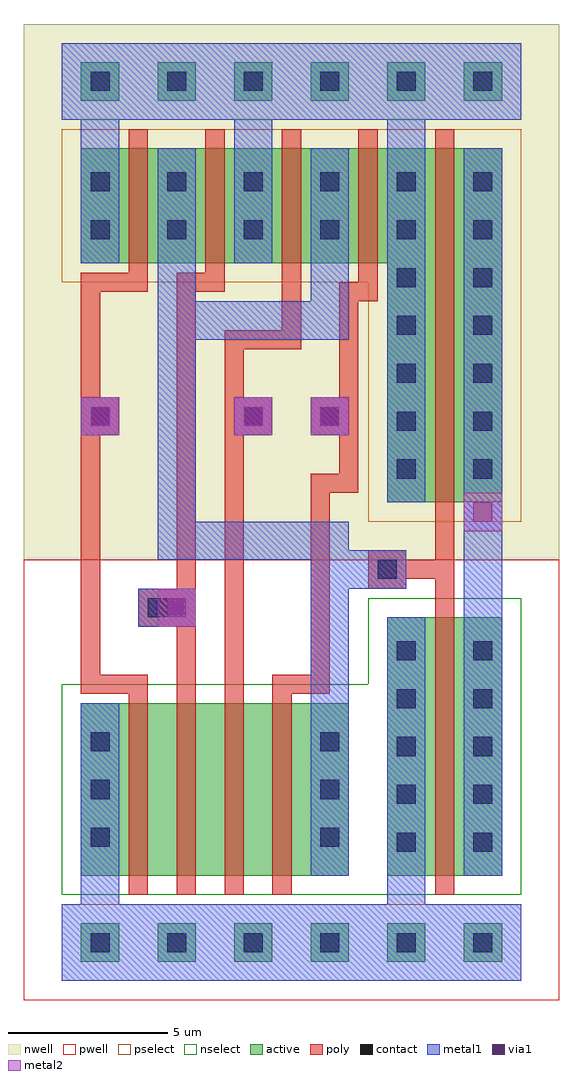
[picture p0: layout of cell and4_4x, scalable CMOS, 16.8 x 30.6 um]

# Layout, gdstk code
import gdstk
lib = gdstk.Library(unit=1e-6, precision=1e-09)
def R(c, l, rs):  # rectangles x0, y0, x1, y1
    for r in rs: c.add(gdstk.rectangle(r[:2], r[2:], *l))
def A(c, l, x, y, w, h, nx, ny, dx, dy):  # array of equal rectangles
    R(c, l, [(x+i*dx, y+j*dy, x+i*dx+w, y+j*dy+h) for i in range(nx) for j in range(ny)])
contact = (25, 0)
pwell = (41, 0)
nwell = (42, 0)
active = (43, 0)
pselect = (44, 0)
nselect = (45, 0)
poly = (46, 0)
metal1 = (49, 0)
via1 = (50, 0)
metal2 = (51, 0)

and4_4x = lib.new_cell('and4_4x')
A(and4_4x, contact, 0.3, -0.3, 0.6, 0.6, 6, 2, 2.4, 22.35)
A(and4_4x, contact, 9.9, 2.85, 0.6, 0.6, 1, 5, 0, 1.5)
A(and4_4x, contact, 12.3, 2.85, 0.6, 0.6, 1, 5, 0, 1.5)
A(and4_4x, contact, 0.3, 3, 0.6, 0.6, 1, 3, 0, 1.5)
A(and4_4x, contact, 7.5, 3, 0.6, 0.6, 1, 3, 0, 1.5)
A(and4_4x, contact, 9.9, 14.55, 0.6, 0.6, 1, 5, 0, 1.5)
A(and4_4x, contact, 12.3, 14.55, 0.6, 0.6, 1, 5, 0, 1.5)
A(and4_4x, contact, 0.3, 23.55, 0.6, 0.6, 6, 2, 2.4, 3.15)
R(and4_4x, contact, [(2.1,10.2,2.7,10.8), (9.3,11.4,9.9,12), (0.3,16.2,0.9,16.8), (5.1,16.2,5.7,16.8), (7.5,16.2,8.1,16.8)])
A(and4_4x, pwell, -0.9, -1.5, 3, 3, 6, 1, 2.4, 0)
A(and4_4x, pwell, -1.2, 0.3, 6, 9, 4, 1, 1.5, 0)
R(and4_4x, pwell, [(-1.8,-1.8,15,12), (-1.8,0.3,3,9.3), (5.4,0.3,10.2,9.3), (7.8,0.3,12.6,12), (8.4,0.3,14.4,12), (10.2,0.3,15,12), (5.175,2.25,10.05,6.75), (7.95,2.85,12.525,7.35), (1.425,3,6.675,7.5), (2.925,3,8.175,7.5), (-0.075,3.3,5.175,7.8), (10.275,3.45,15,7.95), (-1.8,4.8,2.925,9.3)])
A(and4_4x, nwell, -1.8, 19.5, 4.8, 7.2, 4, 1, 2.4, 0)
A(and4_4x, nwell, -1.2, 19.5, 6, 7.2, 4, 1, 2.4, 0)
A(and4_4x, nwell, -0.9, 25.5, 3, 3, 6, 1, 2.4, 0)
R(and4_4x, nwell, [(-1.8,12,15,28.8), (7.8,12,12.6,26.7), (8.4,12,14.4,26.7), (10.2,12,15,26.7), (5.475,19.5,10.2,24), (5.7,19.5,10.2,25.65), (0.75,19.8,5.325,24.3), (3.075,19.95,7.8,24.45), (3.15,19.95,7.725,24.45), (7.875,19.95,12.45,24.45), (7.95,19.95,12.525,24.45), (5.55,20.1,10.125,24.6), (0.675,20.4,5.4,24.9), (10.275,20.55,14.85,25.05), (-1.65,21.15,2.925,25.65)])
A(and4_4x, active, 0, -0.6, 1.2, 1.2, 6, 2, 2.4, 27)
A(and4_4x, active, 0.6, 2.1, 2.4, 5.4, 4, 1, 1.5, 0)
A(and4_4x, active, 0, 21.3, 1.2, 3.6, 4, 1, 2.4, 0)
A(and4_4x, active, 0.6, 21.3, 2.4, 3.6, 4, 1, 2.4, 0)
R(and4_4x, active, [(0,2.1,1.2,7.5), (7.2,2.1,8.4,7.5), (9.6,2.1,10.8,10.2), (10.2,2.1,12.6,10.2), (12,2.1,13.2,10.2), (6.975,4.05,8.25,4.95), (9.75,4.65,10.725,5.55), (3.225,4.8,4.875,5.7), (4.725,4.8,6.375,5.7), (1.725,5.1,3.375,6), (12.075,5.25,13.2,6.15), (0,6.6,1.125,7.5), (9.6,13.8,10.8,24.9), (10.2,13.8,12.6,24.9), (12,13.8,13.2,24.9), (7.275,21.3,8.4,22.2), (7.5,21.3,8.4,23.85), (2.55,21.6,3.525,22.5), (4.875,21.75,6,22.65), (4.95,21.75,5.925,22.65), (9.675,21.75,10.65,22.65), (9.75,21.75,10.725,22.65), (7.35,21.9,8.325,22.8), (2.475,22.2,3.6,23.1), (12.075,22.35,13.05,23.25), (0.15,22.95,1.125,23.85)])
A(and4_4x, pselect, -0.6, -1.2, 2.4, 2.4, 6, 1, 2.4, 0)
A(and4_4x, pselect, -0.6, 20.7, 2.4, 4.8, 4, 1, 2.4, 0)
A(and4_4x, pselect, 0, 20.7, 3.6, 4.8, 4, 1, 2.4, 0)
R(and4_4x, pselect, [(9,13.2,11.4,25.5), (9.6,13.2,13.2,25.5), (11.4,13.2,13.8,25.5), (6.675,20.7,9,22.8), (6.9,20.7,9,24.45), (1.95,21,4.125,23.1), (4.275,21.15,6.6,23.25), (4.35,21.15,6.525,23.25), (9.075,21.15,11.25,23.25), (9.15,21.15,11.325,23.25), (6.75,21.3,8.925,23.4), (1.875,21.6,4.2,23.7), (11.475,21.75,13.65,23.85), (-0.45,22.35,1.725,24.45)])
A(and4_4x, nselect, 0, 1.5, 3.6, 6.6, 4, 1, 1.5, 0)
A(and4_4x, nselect, -0.6, 25.8, 2.4, 2.4, 6, 1, 2.4, 0)
R(and4_4x, nselect, [(-0.6,1.5,1.8,8.1), (6.6,1.5,9,8.1), (9,1.5,11.4,10.8), (9.6,1.5,13.2,10.8), (11.4,1.5,13.8,10.8), (6.375,3.45,8.85,5.55), (9.15,4.05,11.325,6.15), (2.625,4.2,5.475,6.3), (4.125,4.2,6.975,6.3), (1.125,4.5,3.975,6.6), (11.475,4.65,13.8,6.75), (-0.6,6,1.725,8.1)])
A(and4_4x, poly, 1.5, 1.5, 0.6, 6.6, 4, 1, 1.5, 0)
A(and4_4x, poly, 1.5, 20.7, 0.6, 4.8, 4, 1, 2.4, 0)
R(and4_4x, poly, [(11.1,1.5,11.7,10.8), (0,7.8,2.1,8.4), (0,7.8,0.6,16.8), (3,7.8,3.6,10.8), (4.5,7.8,5.1,16.8), (6,7.8,7.8,8.4), (7.2,7.8,7.8,14.7), (1.8,9.9,3,11.1), (2.1,10.2,3.6,10.8), (2.1,10.2,3.6,10.8), (3,10.2,3.6,21), (11.1,10.5,11.7,12), (9,11.1,10.2,12.3), (9.3,11.4,11.7,12), (11.1,11.4,11.7,13.5), (11.1,13.2,11.7,25.5), (7.2,14.1,8.7,14.7), (8.1,14.1,8.7,16.8), (0,15.9,1.2,17.1), (4.8,15.9,6,17.1), (7.2,15.9,8.4,17.1), (0,16.2,0.6,21), (0,16.2,0.9,16.8), (4.5,16.2,5.7,16.8), (4.5,16.2,5.1,19.2), (7.5,16.2,8.7,16.8), (8.1,16.2,8.7,20.7), (4.5,18.6,6.9,19.2), (6.3,18.6,6.9,21), (8.1,20.1,9.3,20.7), (8.7,20.1,9.3,21), (0,20.4,2.1,21), (3,20.4,4.5,21)])
A(and4_4x, metal1, 0, -0.6, 1.2, 1.2, 6, 1, 2.4, 0)
A(and4_4x, metal1, 0, 21.3, 1.2, 3.6, 4, 1, 2.4, 0)
A(and4_4x, metal1, -0.6, 25.8, 4.8, 2.4, 5, 1, 2.4, 0)
A(and4_4x, metal1, 0, 26.4, 1.2, 1.2, 4, 1, 2.4, 0)
R(and4_4x, metal1, [(-0.6,-1.2,1.8,1.2), (-0.6,-1.2,4.2,1.2), (-0.6,-1.2,9,1.2), (-0.6,-1.2,6.6,1.2), (1.8,-1.2,11.4,1.2), (8.85,-1.2,13.8,1.2), (8.85,-1.2,11.4,1.2), (0,-0.6,1.2,3.45), (9.6,-0.6,10.8,3.45), (0.15,-0.45,1.05,0.45), (0,2.1,1.2,7.5), (7.2,2.1,8.4,7.5), (9.6,2.1,10.8,10.2), (12,2.1,13.2,10.2), (7.2,3.9,8.4,12.3), (12,9.15,13.2,14.85), (1.8,9.9,3,11.1), (1.8,9.9,3.6,11.1), (2.4,9.9,3.6,11.1), (7.2,11.1,8.4,13.2), (7.2,11.1,10.2,12.3), (9,11.1,10.2,12.3), (2.4,12,3.6,20.1), (2.4,12,8.4,13.2), (12.15,12.75,13.05,14.7), (12,12.9,13.2,14.1), (9.6,13.8,10.8,24.9), (12,13.8,13.2,24.9), (0,15.9,1.2,17.1), (0,15.9,1.2,17.1), (0,15.9,1.2,17.1), (4.8,15.9,6,17.1), (4.8,15.9,6,17.1), (4.8,15.9,6,17.1), (7.2,15.9,8.4,17.1), (7.2,15.9,8.4,17.1), (7.35,16.05,8.25,16.95), (2.4,18.9,8.4,20.1), (2.4,18.9,3.6,22.35), (7.2,18.9,8.4,23.7), (4.8,22.65,6,27.6), (0,22.8,1.2,27.6), (9.6,23.85,10.8,27.6), (-0.6,25.8,1.8,28.2), (9,25.8,11.4,28.2), (0,26.4,1.2,27.6), (4.8,26.4,8.4,27.6), (7.2,26.4,8.4,27.6), (9.6,26.4,10.8,27.6), (9.6,26.4,10.8,27.6), (12,26.4,13.2,27.6), (12,26.4,13.2,27.6), (9.75,26.55,13.05,27.45)])
R(and4_4x, via1, [(2.7,10.2,3.3,10.8), (12.3,13.2,12.9,13.8), (0.3,16.2,0.9,16.8), (5.1,16.2,5.7,16.8), (7.5,16.2,8.1,16.8)])
R(and4_4x, metal2, [(2.4,9.9,3.6,11.1), (12,12.9,13.2,14.1), (0,15.9,1.2,17.1), (4.8,15.9,6,17.1), (7.2,15.9,8.4,17.1)])

lib.write_gds('and4_4x.gds')
